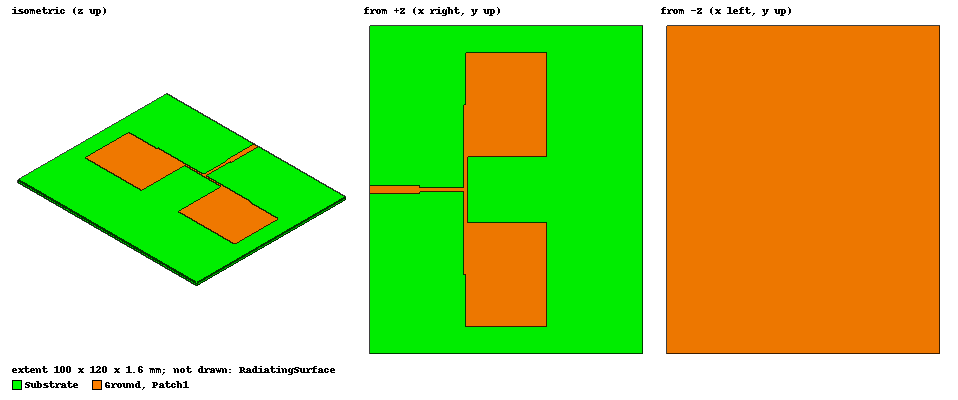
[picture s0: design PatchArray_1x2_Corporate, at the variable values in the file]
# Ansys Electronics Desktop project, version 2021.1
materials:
  vacuum: permittivity=1
  FR4_epoxy: permittivity=4.4 dielectric_loss_tangent=0.02
  copper: permeability=0.999991 conductivity=58000000

design PatchArray_1x2_Corporate (HFSS, DrivenModal, model units mm)
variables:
  sub_h = 1.6mm
  sub_x = 100mm
  sub_y = 120mm
  patch_l = 29.46mm
  patch_w = 38mm
  spacing_y = 62.5mm
  w_50 = 3.05mm
  w_100 = 0.7mm
  w_qtr = 1.7mm
  l_qtr = 16.8mm
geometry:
  Substrate [FR4_epoxy] = box(corner=(-sub_x/2, -sub_y/2, 0mm), size=(sub_x, sub_y, sub_h))
  Ground [copper] = rectangle(corner=(-sub_x/2, -sub_y/2, 0mm), x_size=sub_x, y_size=sub_y)
  Patch1 [copper] = rectangle(corner=(-patch_l/2, spacing_y/2 - patch_w/2, sub_h), x_size=patch_l, y_size=patch_w)
  Patch2 = rectangle(corner=(-patch_l/2, -spacing_y/2 - patch_w/2, sub_h), x_size=patch_l, y_size=patch_w)
  Feed_Main = rectangle(corner=(-sub_x/2, -w_50/2, sub_h), x_size=sub_x/2 - patch_l/2 - l_qtr, y_size=w_50)
  Feed_Qtr = rectangle(corner=(-patch_l/2 - l_qtr - w_100, -w_qtr/2, sub_h), x_size=l_qtr + 0.5mm, y_size=w_qtr)
  Feed_Branch = rectangle(corner=(-patch_l/2 - w_100, -spacing_y/2, sub_h), x_size=w_100 + 0.5mm, y_size=spacing_y)
  Patch1.unite(Patch2, Feed_Main, Feed_Qtr, Feed_Branch)
  Port1 = rectangle(corner=(-sub_x/2, -w_50/2, 0mm), y_size=w_50, z_size=sub_h)
  RadiatingSurface [vacuum] = region(absolute_offset=41.666667mm on all sides)
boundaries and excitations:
  PerfE_Ground: Perfect E Objects=Ground
  PerfE_Array: Perfect E Objects=Patch1
  Open1: Radiation Objects=RadiatingSurface
  1: Lumped Port Objects=Port1 Modes{Mode1{IntLine{middle of Port1.edge(z at corner) -> middle of Port1.edge(z opposite corner)} CharImp=Zpi RenormImp=50ohm}} Impedance=50ohm
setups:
  Setup2: HfssDrivenAuto AutoSolverSetting=Balanced Type=Interpolating
    sweep Sweep: 1GHz to 5GHz, 501 points;
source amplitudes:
  1:1: 1W 0deg
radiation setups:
  3D: Infinite Sphere Theta=0deg..180deg step 2deg Phi=-180deg..180deg step 2deg
  Elevation: Infinite Sphere Theta=-180deg..180deg step 1deg Phi=0deg..90deg step 90deg
  Azimuth: Infinite Sphere Theta=90deg..90deg step 0deg Phi=-180deg..180deg step 1deg
  Infinite Sphere1: Infinite Sphere Theta=-180deg..180deg step 10deg Phi=0deg..360deg step 10deg
